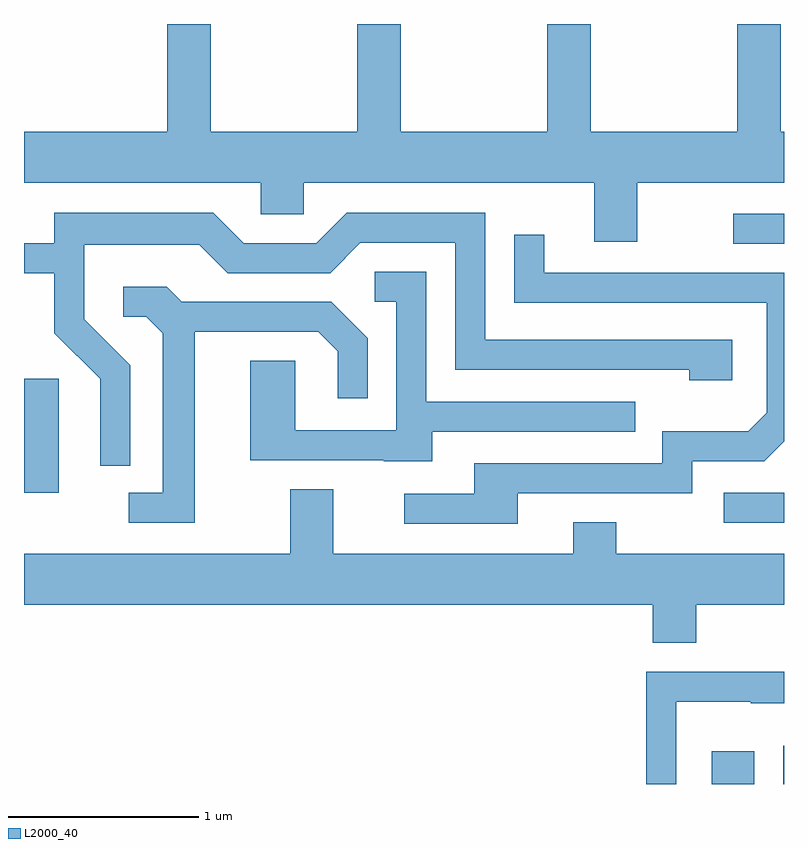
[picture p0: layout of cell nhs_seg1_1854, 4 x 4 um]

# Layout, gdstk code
import gdstk
lib = gdstk.Library(unit=1e-6, precision=1e-09)
def R(c, l, rs):  # rectangles x0, y0, x1, y1
    for r in rs: c.add(gdstk.rectangle(r[:2], r[2:], *l))
def P(c, l, *ps):  # polygons
    for p in ps: c.add(gdstk.Polygon(p, *l))
L2000_40 = (2000, 40)

nhs_seg1_1854 = lib.new_cell('nhs_seg1_1854')
R(nhs_seg1_1854, L2000_40, [(245.231,929.712,245.454,929.884), (245.606,929.712,245.611,929.914), (245.293,931.086,245.611,931.244), (241.611,931.246,241.794,931.844), (245.343,932.556,245.611,932.714)])
P(nhs_seg1_1854, L2000_40, [(244.839,932.876),(245.611,932.876),(245.611,933.144),(245.594,933.144),(245.594,933.712),(245.366,933.712),(245.366,933.144),(244.594,933.144),(244.594,933.712),(244.366,933.712),(244.366,933.144),(243.594,933.144),(243.594,933.712),(243.366,933.712),(243.366,933.144),(242.594,933.144),(242.594,933.712),(242.366,933.712),(242.366,933.144),(241.611,933.144),(241.611,932.876),(242.856,932.876),(242.856,932.711),(243.084,932.711),(243.084,932.876),(244.611,932.876),(244.611,932.566),(244.839,932.566)],
  [(242.169,931.917),(241.929,932.157),(241.929,932.551),(242.534,932.551),(242.684,932.401),(243.222,932.401),(243.382,932.561),(243.881,932.561),(243.881,931.891),(245.111,931.891),(245.111,931.836),(245.339,931.836),(245.339,932.049),(244.039,932.049),(244.039,932.719),(243.309,932.719),(243.149,932.559),(242.767,932.559),(242.607,932.719),(241.771,932.719),(241.771,932.559),(241.611,932.559),(241.611,932.401),(241.771,932.401),(241.771,932.084),(242.011,931.844),(242.011,931.388),(242.169,931.388)],
  [(244.209,931.241),(245.129,931.241),(245.129,931.411),(245.507,931.411),(245.611,931.516),(245.611,932.404),(244.349,932.404),(244.349,932.603),(244.191,932.603),(244.191,932.246),(245.521,932.246),(245.521,931.667),(245.424,931.569),(244.971,931.569),(244.971,931.399),(243.981,931.399),(243.981,931.239),(243.613,931.239),(243.613,931.081),(244.209,931.081)],
  [(243.759,931.566),(244.828,931.566),(244.828,931.724),(243.729,931.724),(243.729,932.409),(243.458,932.409),(243.458,932.251),(243.571,932.251),(243.571,931.574),(243.039,931.574),(243.039,931.939),(242.801,931.939),(242.801,931.416),(243.505,931.416),(243.505,931.411),(243.759,931.411)],
  [(242.509,932.091),(243.159,932.091),(243.261,931.989),(243.261,931.743),(243.419,931.743),(243.419,932.057),(243.227,932.249),(242.442,932.249),(242.362,932.329),(242.133,932.329),(242.133,932.171),(242.254,932.171),(242.341,932.084),(242.341,931.244),(242.163,931.244),(242.163,931.086),(242.509,931.086)],
  [(245.149,930.656),(245.611,930.656),(245.611,930.924),(244.729,930.924),(244.729,931.089),(244.501,931.089),(244.501,930.924),(243.239,930.924),(243.239,931.264),(243.011,931.264),(243.011,930.924),(241.611,930.924),(241.611,930.656),(244.921,930.656),(244.921,930.456),(245.149,930.456)],
  [(245.044,930.146),(245.435,930.146),(245.435,930.136),(245.611,930.136),(245.611,930.304),(244.886,930.304),(244.886,929.712),(245.044,929.712)])

lib.write_gds('nhs_seg1_1854.gds')
